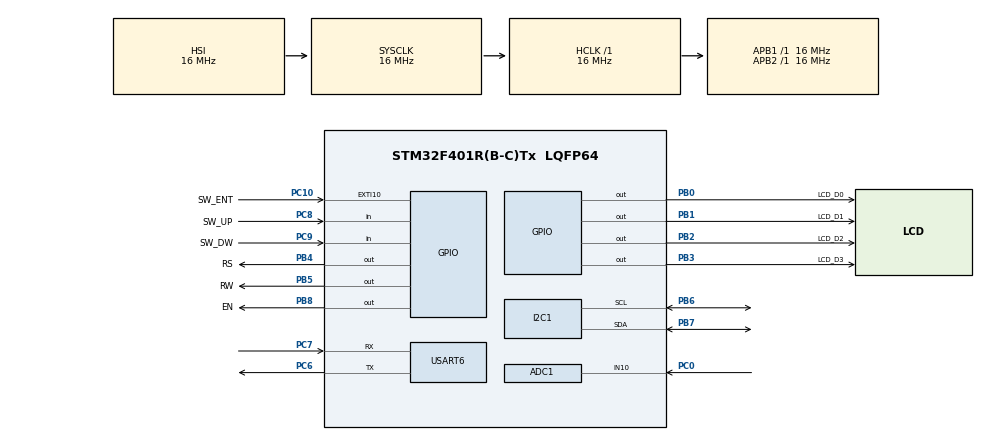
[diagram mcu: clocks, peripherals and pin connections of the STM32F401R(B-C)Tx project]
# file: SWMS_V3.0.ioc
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ADC1.Channel-0\#ChannelRegularConversion=ADC_CHANNEL_10
ADC1.NbrOfConversionFlag=1
ADC1.Rank-0\#ChannelRegularConversion=1
ADC1.SamplingTime-0\#ChannelRegularConversion=ADC_SAMPLETIME_3CYCLES
ADC1.master=1
FREERTOS.BinarySemaphores01=myBinarySem01,Dynamic,NULL
FREERTOS.Tasks01=Task1,-3,128,Task1_ReadRTC_WriteLCD_1Sec,Default,NULL,Dynamic,NULL,NULL;Task4,-3,128,Task4_SWMS_Config,Default,NULL,Dynamic,NULL,NULL;Task3,-3,128,Task3_Check_InternetStatus,Default,NULL,Dynamic,NULL,NULL;Task2,0,128,Task2_ReadLM35_WriteLCD_5Sec,Default,NULL,Dynamic,NULL,NULL
Mcu.Family=STM32F4
Mcu.Name=STM32F401R(B-C)Tx
Mcu.Package=LQFP64
NVIC.EXTI15_10_IRQn=true\:5\:0\:false\:false\:true\:true\:true\:true\:true
NVIC.PriorityGroup=NVIC_PRIORITYGROUP_4
NVIC.TIM1_UP_TIM10_IRQn=true\:15\:0\:false\:false\:true\:false\:false\:true\:true
NVIC.TimeBase=TIM1_UP_TIM10_IRQn
NVIC.TimeBaseIP=TIM10
PA13.Mode=Serial_Wire
PA13.Signal=SYS_JTMS-SWDIO
PA14.Mode=Serial_Wire
PA14.Signal=SYS_JTCK-SWCLK
PB0.GPIO_Label=LCD_D0
PB0.Signal=GPIO_Output
PB1.GPIO_Label=LCD_D1
PB1.Signal=GPIO_Output
PB2.GPIO_Label=LCD_D2
PB2.Signal=GPIO_Output
PB3.GPIO_Label=LCD_D3
PB3.Signal=GPIO_Output
PB4.GPIO_Label=RS
PB4.Signal=GPIO_Output
PB5.GPIO_Label=RW
PB5.Signal=GPIO_Output
PB6.Mode=I2C
PB6.Signal=I2C1_SCL
PB7.Mode=I2C
PB7.Signal=I2C1_SDA
PB8.GPIO_Label=EN
PB8.Signal=GPIO_Output
PC0.Signal=ADCx_IN10
PC10.GPIO_Label=SW_ENT
PC10.GPIO_ModeDefaultEXTI=GPIO_MODE_IT_FALLING
PC10.GPIO_PuPd=GPIO_PULLUP
PC10.Signal=GPXTI10
PC14-OSC32_IN.Mode=LSE-External-Oscillator
PC14-OSC32_IN.Signal=RCC_OSC32_IN
PC15-OSC32_OUT.Mode=LSE-External-Oscillator
PC15-OSC32_OUT.Signal=RCC_OSC32_OUT
PC6.Mode=Asynchronous
PC6.Signal=USART6_TX
PC7.Mode=Asynchronous
PC7.Signal=USART6_RX
PC8.GPIO_Label=SW_UP
PC8.GPIO_PuPd=GPIO_PULLUP
PC8.Signal=GPIO_Input
PC9.GPIO_Label=SW_DW
PC9.GPIO_PuPd=GPIO_PULLUP
PC9.Signal=GPIO_Input
PH0\ -\ OSC_IN.Mode=HSE-External-Oscillator
PH0\ -\ OSC_IN.Signal=RCC_OSC_IN
PH1\ -\ OSC_OUT.Mode=HSE-External-Oscillator
PH1\ -\ OSC_OUT.Signal=RCC_OSC_OUT
ProjectManager.HeapSize=0x200
ProjectManager.StackSize=0x400
ProjectManager.TargetToolchain=STM32CubeIDE
RCC.AHBFreq_Value=16000000
RCC.APB1Freq_Value=16000000
RCC.APB1TimFreq_Value=16000000
RCC.APB2Freq_Value=16000000
RCC.APB2TimFreq_Value=16000000
RCC.CortexFreq_Value=16000000
RCC.HCLKFreq_Value=16000000
RCC.HSE_VALUE=25000000
RCC.HSI_VALUE=16000000
RCC.SYSCLKFreq_VALUE=16000000
RCC.VCOOutputFreq_Value=192000000
SH.ADCx_IN10.0=ADC1_IN10,IN10
USART6.VirtualMode=VM_ASYNC
VP_FREERTOS_VS_CMSIS_V1.Mode=CMSIS_V1
VP_SYS_VS_tim10.Mode=TIM10
board=custom

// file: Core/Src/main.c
/* USER CODE BEGIN Header */
/**
  ******************************************************************************
  * @file           : main.c
  * @brief          : Main program body
  ******************************************************************************
  * @attention
  *
  * Copyright (c) 2024 STMicroelectronics.
  * All rights reserved.
  *
  * This software is licensed under terms that can be found in the LICENSE file
  * in the root directory of this software component.
  * If no LICENSE file comes with this software, it is provided AS-IS.
  *
  ******************************************************************************
  */
/* USER CODE END Header */
#include "main.h"
#include "cmsis_os.h"

/* USER CODE BEGIN Includes */
#include "lcd.h"

/* USER CODE END Includes */

ADC_HandleTypeDef hadc1;

I2C_HandleTypeDef hi2c1;

UART_HandleTypeDef huart6;

osThreadId Task1Handle;
osThreadId Task4Handle;
osThreadId Task3Handle;
osThreadId Task2Handle;
osSemaphoreId myBinarySem01Handle;
/* USER CODE BEGIN PV */
extern int _5sec_flag;
extern int _1sec_flag;
extern int enter;
unsigned char rtc_data[7]={0};
int Flag=0;
int i=0;
int count=0;
/* USER CODE END PV */

void SystemClock_Config(void);
static void MX_GPIO_Init(void);
static void MX_ADC1_Init(void);
static void MX_I2C1_Init(void);
static void MX_USART6_UART_Init(void);
void Task1_ReadRTC_WriteLCD_1Sec(void const * argument);
void Task4_SWMS_Config(void const * argument);
void Task3_Check_InternetStatus(void const * argument);
void Task2_ReadLM35_WriteLCD_5Sec(void const * argument);

/* USER CODE BEGIN 0 */
unsigned char rtc_write[]={0x00,0x13,0x11,0x05,0x06,0x12,0x24};
unsigned char rtc_read[7];
unsigned int lm35_data,b;
unsigned int lm35_flag=0;
unsigned char Fetch[100];
/* USER CODE END 0 */

int main(void)
{

  /* MCU Configuration--------------------------------------------------------*/

  /* Reset of all peripherals, Initializes the Flash interface and the Systick. */
  HAL_Init();

  /* Configure the system clock */
  SystemClock_Config();

  /* Initialize all configured peripherals */
  MX_GPIO_Init();
  MX_ADC1_Init();
  MX_I2C1_Init();
  MX_USART6_UART_Init();
  /* USER CODE BEGIN 2 */
  HAL_LCD_Init();
  wifi_init();
 //HAL_I2C_Mem_Write(&hi2c1,0x68<<1,0x00,0x01,&rtc_write,7,100);
  /* USER CODE END 2 */

  /* Create the semaphores(s) */
  /* definition and creation of myBinarySem01 */
  osSemaphoreDef(myBinarySem01);
  myBinarySem01Handle = osSemaphoreCreate(osSemaphore(myBinarySem01), 1);

  /* Create the thread(s) */
  /* definition and creation of Task1 */
  osThreadDef(Task1, Task1_ReadRTC_WriteLCD_1Sec, osPriorityIdle, 0, 128);
  Task1Handle = osThreadCreate(osThread(Task1), NULL);

  /* definition and creation of Task4 */
  osThreadDef(Task4, Task4_SWMS_Config, osPriorityIdle, 0, 128);
  Task4Handle = osThreadCreate(osThread(Task4), NULL);

  /* definition and creation of Task3 */
  osThreadDef(Task3, Task3_Check_InternetStatus, osPriorityIdle, 0, 128);
  Task3Handle = osThreadCreate(osThread(Task3), NULL);

  /* definition and creation of Task2 */
  osThreadDef(Task2, Task2_ReadLM35_WriteLCD_5Sec, osPriorityNormal, 0, 128);
  Task2Handle = osThreadCreate(osThread(Task2), NULL);

  /* Start scheduler */
  osKernelStart();
  /* We should never get here as control is now taken by the scheduler */
  /* Infinite loop */
  while (1)
  {

  }
}

void SystemClock_Config(void)
{
  RCC_OscInitTypeDef RCC_OscInitStruct = {0};
  RCC_ClkInitTypeDef RCC_ClkInitStruct = {0};

  /** Configure the main internal regulator output voltage
  */
  __HAL_RCC_PWR_CLK_ENABLE();
  __HAL_PWR_VOLTAGESCALING_CONFIG(PWR_REGULATOR_VOLTAGE_SCALE2);

  /** Initializes the RCC Oscillators according to the specified parameters
  * in the RCC_OscInitTypeDef structure.
  */
  RCC_OscInitStruct.OscillatorType = RCC_OSCILLATORTYPE_HSI;
  RCC_OscInitStruct.HSIState = RCC_HSI_ON;
  RCC_OscInitStruct.HSICalibrationValue = RCC_HSICALIBRATION_DEFAULT;
  RCC_OscInitStruct.PLL.PLLState = RCC_PLL_NONE;
  if (HAL_RCC_OscConfig(&RCC_OscInitStruct) != HAL_OK)
  {
    Error_Handler();
  }

  /** Initializes the CPU, AHB and APB buses clocks
  */
  RCC_ClkInitStruct.ClockType = RCC_CLOCKTYPE_HCLK|RCC_CLOCKTYPE_SYSCLK
                              |RCC_CLOCKTYPE_PCLK1|RCC_CLOCKTYPE_PCLK2;
  RCC_ClkInitStruct.SYSCLKSource = RCC_SYSCLKSOURCE_HSI;
  RCC_ClkInitStruct.AHBCLKDivider = RCC_SYSCLK_DIV1;
  RCC_ClkInitStruct.APB1CLKDivider = RCC_HCLK_DIV1;
  RCC_ClkInitStruct.APB2CLKDivider = RCC_HCLK_DIV1;

  if (HAL_RCC_ClockConfig(&RCC_ClkInitStruct, FLASH_LATENCY_0) != HAL_OK)
  {
    Error_Handler();
  }
}

static void MX_ADC1_Init(void)
{

  ADC_ChannelConfTypeDef sConfig = {0};

  /** Configure the global features of the ADC (Clock, Resolution, Data Alignment and number of conversion)
  */
  hadc1.Instance = ADC1;
  hadc1.Init.ClockPrescaler = ADC_CLOCK_SYNC_PCLK_DIV2;
  hadc1.Init.Resolution = ADC_RESOLUTION_12B;
  hadc1.Init.ScanConvMode = DISABLE;
  hadc1.Init.ContinuousConvMode = DISABLE;
  hadc1.Init.DiscontinuousConvMode = DISABLE;
  hadc1.Init.ExternalTrigConvEdge = ADC_EXTERNALTRIGCONVEDGE_NONE;
  hadc1.Init.ExternalTrigConv = ADC_SOFTWARE_START;
  hadc1.Init.DataAlign = ADC_DATAALIGN_RIGHT;
  hadc1.Init.NbrOfConversion = 1;
  hadc1.Init.DMAContinuousRequests = DISABLE;
  hadc1.Init.EOCSelection = ADC_EOC_SINGLE_CONV;
  if (HAL_ADC_Init(&hadc1) != HAL_OK)
  {
    Error_Handler();
  }

  /** Configure for the selected ADC regular channel its corresponding rank in the sequencer and its sample time.
  */
  sConfig.Channel = ADC_CHANNEL_10;
  sConfig.Rank = 1;
  sConfig.SamplingTime = ADC_SAMPLETIME_3CYCLES;
  if (HAL_ADC_ConfigChannel(&hadc1, &sConfig) != HAL_OK)
  {
    Error_Handler();
  }

}

static void MX_I2C1_Init(void)
{

  hi2c1.Instance = I2C1;
  hi2c1.Init.ClockSpeed = 100000;
  hi2c1.Init.DutyCycle = I2C_DUTYCYCLE_2;
  hi2c1.Init.OwnAddress1 = 0;
  hi2c1.Init.AddressingMode = I2C_ADDRESSINGMODE_7BIT;
  hi2c1.Init.DualAddressMode = I2C_DUALADDRESS_DISABLE;
  hi2c1.Init.OwnAddress2 = 0;
  hi2c1.Init.GeneralCallMode = I2C_GENERALCALL_DISABLE;
  hi2c1.Init.NoStretchMode = I2C_NOSTRETCH_DISABLE;
  if (HAL_I2C_Init(&hi2c1) != HAL_OK)
  {
    Error_Handler();
  }

}

static void MX_USART6_UART_Init(void)
{

  huart6.Instance = USART6;
  huart6.Init.BaudRate = 115200;
  huart6.Init.WordLength = UART_WORDLENGTH_8B;
  huart6.Init.StopBits = UART_STOPBITS_1;
  huart6.Init.Parity = UART_PARITY_NONE;
  huart6.Init.Mode = UART_MODE_TX_RX;
  huart6.Init.HwFlowCtl = UART_HWCONTROL_NONE;
  huart6.Init.OverSampling = UART_OVERSAMPLING_16;
  if (HAL_UART_Init(&huart6) != HAL_OK)
  {
    Error_Handler();
  }

}

static void MX_GPIO_Init(void)
{
  GPIO_InitTypeDef GPIO_InitStruct = {0};

  /* GPIO Ports Clock Enable */
  __HAL_RCC_GPIOC_CLK_ENABLE();
  __HAL_RCC_GPIOH_CLK_ENABLE();
  __HAL_RCC_GPIOB_CLK_ENABLE();
  __HAL_RCC_GPIOA_CLK_ENABLE();

  /*Configure GPIO pin Output Level */
  HAL_GPIO_WritePin(GPIOB, LCD_D0_Pin|LCD_D1_Pin|LCD_D2_Pin|LCD_D3_Pin
                          |RS_Pin|RW_Pin|EN_Pin, GPIO_PIN_RESET);

  /*Configure GPIO pins : LCD_D0_Pin LCD_D1_Pin LCD_D2_Pin LCD_D3_Pin
                           RS_Pin RW_Pin EN_Pin */
  GPIO_InitStruct.Pin = LCD_D0_Pin|LCD_D1_Pin|LCD_D2_Pin|LCD_D3_Pin
                          |RS_Pin|RW_Pin|EN_Pin;
  GPIO_InitStruct.Mode = GPIO_MODE_OUTPUT_PP;
  GPIO_InitStruct.Pull = GPIO_NOPULL;
  GPIO_InitStruct.Speed = GPIO_SPEED_FREQ_LOW;
  HAL_GPIO_Init(GPIOB, &GPIO_InitStruct);

  /*Configure GPIO pins : SW_UP_Pin SW_DW_Pin */
  GPIO_InitStruct.Pin = SW_UP_Pin|SW_DW_Pin;
  GPIO_InitStruct.Mode = GPIO_MODE_INPUT;
  GPIO_InitStruct.Pull = GPIO_PULLUP;
  HAL_GPIO_Init(GPIOC, &GPIO_InitStruct);

  /*Configure GPIO pin : SW_ENT_Pin */
  GPIO_InitStruct.Pin = SW_ENT_Pin;
  GPIO_InitStruct.Mode = GPIO_MODE_IT_FALLING;
  GPIO_InitStruct.Pull = GPIO_PULLUP;
  HAL_GPIO_Init(SW_ENT_GPIO_Port, &GPIO_InitStruct);

  /* EXTI interrupt init*/
  HAL_NVIC_SetPriority(EXTI15_10_IRQn, 5, 0);
  HAL_NVIC_EnableIRQ(EXTI15_10_IRQn);

}

/* USER CODE BEGIN 4 */
void wifi_init(void)
{
			HAL_UART_Transmit(&huart6,"AT\r\n",5,100);
	  	    HAL_Delay(100);
	  	    HAL_UART_Transmit(&huart6,"AT+RST\r\n",9,100);
	  	    HAL_Delay(100);
	  	    HAL_UART_Transmit(&huart6,"AT+CWMODE=3\r\n",14,100);
	  	    HAL_Delay(100);
	  	    HAL_UART_Transmit(&huart6,"AT+CWJAP=\"SAI\",\"12345678\"\r\n",strlen("AT+CWJAP=\"SAI\",\"12345678\"\r\n"),100);
	  	    HAL_Delay(100);
	  	    HAL_UART_Transmit(&huart6,"AT+CIFSR\r\n",11,100);
	  	    HAL_Delay(100);
	  	    HAL_UART_Transmit(&huart6,"AT+CIPMUX=0\r\n",14,100);
	  	    HAL_Delay(100);
	  	    HAL_UART_Transmit(&huart6,"AT+CWLAP\r\n",11,100);
	  	    HAL_Delay(100);
	  	    HAL_UART_Transmit(&huart6,"AT+CIPMODE=0\r\n",15,100);
}
void SWMS_Config1(void)
{

  while((HAL_GPIO_ReadPin(GPIOC,SW_ENT_Pin))!=0)
		{
			if((HAL_GPIO_ReadPin(GPIOC,SW_UP_Pin))==0)
			{
				if(rtc_data[i]%10==9)
				{
					count++;
					rtc_data[i]++;
				}
				else
				rtc_data[i]++;
				HAL_LCD_WRITE_DATA((rtc_data[i]/10)+48);
				HAL_LCD_WRITE_DATA((rtc_data[i]%10)+48);
				  while((HAL_GPIO_ReadPin(GPIOC,SW_UP_Pin))==0);
				HAL_LCD_WRITE_COMMAND(0x10);
				HAL_LCD_WRITE_COMMAND(0x10);
			}
			if((HAL_GPIO_ReadPin(GPIOC,SW_DW_Pin))==0)
			{
				if(rtc_data[i]%10==9)
				{
					count--;
					rtc_data[i]--;
				}
				else
				rtc_data[i]--;
				HAL_LCD_WRITE_DATA((rtc_data[i]/10)+48);
				HAL_LCD_WRITE_DATA((rtc_data[i]%10)+48);
				  while((HAL_GPIO_ReadPin(GPIOC,SW_DW_Pin))==0);
				HAL_LCD_WRITE_COMMAND(0x10);
				HAL_LCD_WRITE_COMMAND(0x10);
			}
		}
		HAL_Delay(500);
		HAL_Delay(500);
		Flag++;
		rtc_data[i]-=count;
		while(count)
		{
			rtc_data[i]+=7;
			count--;
		}
		i++;
}
void SW_Enter(void)
{
	switch(Flag)
		{
			case 0:HAL_LCD_WRITE_COMMAND(0x81);
						HAL_LCD_STRING("SS:MM:HH");
						HAL_LCD_WRITE_COMMAND(0xC1);
						HAL_LCD_STRING("00");
						HAL_LCD_WRITE_COMMAND(0xC1);
							break;
			case 1:HAL_LCD_WRITE_COMMAND(0xC4);
						HAL_LCD_STRING("00");
						HAL_LCD_WRITE_COMMAND(0xC4);
							break;
			case 2:HAL_LCD_WRITE_COMMAND(0xC7);
						HAL_LCD_STRING("00");
						HAL_LCD_WRITE_COMMAND(0xC7);
							break;
			case 3:HAL_LCD_WRITE_COMMAND(0x01);
						HAL_LCD_WRITE_COMMAND(0x81);
						HAL_LCD_STRING("DY:DD:MM:YY");
						HAL_LCD_WRITE_COMMAND(0xC1);
						HAL_LCD_STRING("00");
						HAL_LCD_WRITE_COMMAND(0xC1);
						  break;
			case 4:HAL_LCD_WRITE_COMMAND(0xC4);
						HAL_LCD_STRING("00");
						HAL_LCD_WRITE_COMMAND(0xC4);
						  break;
			case 5:HAL_LCD_WRITE_COMMAND(0xC7);
						HAL_LCD_STRING("00");
						HAL_LCD_WRITE_COMMAND(0xC7);
							break;
			case 6:HAL_LCD_WRITE_COMMAND(0xCA);
						HAL_LCD_STRING("00");
						HAL_LCD_WRITE_COMMAND(0xCA);
							break;
			case 7:HAL_LCD_WRITE_COMMAND(0x01);
						HAL_LCD_WRITE_COMMAND(0x82);
						HAL_LCD_WRITE_COMMAND(0x01);
						HAL_I2C_Mem_Write(&hi2c1,0x68<<1,0x00,0x01,rtc_data,7,100);
						HAL_LCD_STRING("Data Written");
						HAL_LCD_WRITE_COMMAND(0x01);
						break;
		}
}

/* USER CODE END 4 */

void Task1_ReadRTC_WriteLCD_1Sec(void const * argument)
{
  /* USER CODE BEGIN 5 */
  /* Infinite loop */
  for(;;)
  {
	  if(_1sec_flag==1)
	  {
	  	  osSemaphoreWait(myBinarySem01Handle,osWaitForever);
	  	  	  	HAL_LCD_WRITE_COMMAND(0x80);
	  	  	  	HAL_I2C_Mem_Read(&hi2c1,0x68<<1,0x00,0x01,rtc_read,7,100);
	  	 	   	   	   // HH:MM:SS
	  	  	  	HAL_LCD_WRITE_COMMAND(0x81);
	  	  	  	      // hours
	  	  	  	HAL_LCD_WRITE_DATA((rtc_read[2] >> 4) + '0');
	  	  	  	HAL_LCD_WRITE_DATA((rtc_read[2] & 0x0F) + '0');
	  	  	  	HAL_LCD_WRITE_DATA(':');
	  	  	  	       // minutes
	  	  	  	HAL_LCD_WRITE_DATA((rtc_read[1] >> 4) + '0');
	  	  	  	HAL_LCD_WRITE_DATA((rtc_read[1] & 0x0F) + '0');
	  	  	  	HAL_LCD_WRITE_DATA(':');
	  	  	  	       // seconds
	  	  	  	HAL_LCD_WRITE_DATA((rtc_read[0] >> 4) + '0');
	  	  	  	HAL_LCD_WRITE_DATA((rtc_read[0] & 0x0F) + '0');
	  	  	  	       // Date: DD/MM/YY
	  	  	  	HAL_LCD_WRITE_COMMAND(0xC1);
	  	  	  	      //date
	  	  	  	HAL_LCD_WRITE_DATA((rtc_read[4] >> 4) + '0');
	  	  	  	HAL_LCD_WRITE_DATA((rtc_read[4] & 0x0F) + '0');
	  	  	  	HAL_LCD_WRITE_DATA('/');
	  	  	  	       // month
	  	  	  	HAL_LCD_WRITE_DATA((rtc_read[5] >> 4) + '0');
	  	  	  	HAL_LCD_WRITE_DATA((rtc_read[5] & 0x0F) + '0');
	  	  	  	HAL_LCD_WRITE_DATA('/');
	  	  	  	      //year
	  	  	  	HAL_LCD_WRITE_DATA((rtc_read[6] >> 4) + '0');
	  	  	  	HAL_LCD_WRITE_DATA((rtc_read[6] & 0x0F) + '0');
                _1sec_flag=0;
	   	osSemaphoreRelease(myBinarySem01Handle);
                 osDelay(1);
	  }
  }
  /* USER CODE END 5 */
}

void Task4_SWMS_Config(void const * argument)
{
  /* USER CODE BEGIN Task4_SWMS_Config */
  /* Infinite loop */
  for(;;)
  {
	  if(enter==1)
	  {
		  osSemaphoreWait(myBinarySem01Handle,osWaitForever);
		  HAL_LCD_WRITE_COMMAND(0x01);
		  	while(1)
		  	{
		  		SW_Enter();
		  		if(Flag==7)
		  		{
		  			Flag=0;
		  			break ;
		  		}
		  		SWMS_Config1();
		  	}
		 osSemaphoreRelease(myBinarySem01Handle);
		 enter=0;
		 osDelay(1);
	  }
  }
  /* USER CODE END Task4_SWMS_Config */
}

void Task3_Check_InternetStatus(void const * argument)
{
  for(;;)
  {
    osDelay(1);
  }
}

void Task2_ReadLM35_WriteLCD_5Sec(void const * argument)
{
  /* USER CODE BEGIN Task2_ReadLM35_WriteLCD_5Sec */
  /* Infinite loop */
  for(;;)
  {
	  if(_5sec_flag==1)
	  {
	  osSemaphoreWait(myBinarySem01Handle,osWaitForever);
		HAL_ADC_Start(&hadc1);
	  	HAL_ADC_PollForConversion(&hadc1,20);
	  	lm35_data=HAL_ADC_GetValue(&hadc1);
	  	lm35_data=((lm35_data*3000)/40960);
	  	HAL_LCD_WRITE_COMMAND(0x8C);
	  	b=lm35_data/10;
	  	HAL_LCD_WRITE_DATA(b+48);
	  	b=lm35_data%10;
	  	HAL_LCD_WRITE_DATA(b+48);
	  	HAL_LCD_WRITE_DATA(0xDF);
	  	HAL_LCD_WRITE_DATA('C');
		HAL_UART_Transmit(&huart6,"AT+CIPSTATUS\r\n",15,100);
	    HAL_Delay(100);
	    HAL_UART_Transmit(&huart6,"AT+CIPSTART=\"TCP\",\"142.93.218.33\",80\r\n",39,100);
	    HAL_Delay(100);
	    HAL_UART_Transmit(&huart6,"AT+CIPSEND=40\r\n",16,100);
	    sprintf(Fetch,"GET /page.php?temp=%d&hum=30&dev=36\r\n",lm35_data);
	    HAL_Delay(100);
	    HAL_UART_Transmit(&huart6,Fetch,sizeof(Fetch),100);
	    HAL_Delay(100);
	    HAL_UART_Transmit(&huart6,"AT+CIPCLOSE\r\n",15,100);
		  _5sec_flag=0;
	  	osSemaphoreRelease(myBinarySem01Handle);
	  }
	  	osDelay(1);
  }
  /* USER CODE END Task2_ReadLM35_WriteLCD_5Sec */
}

void HAL_TIM_PeriodElapsedCallback(TIM_HandleTypeDef *htim)
{
  if (htim->Instance == TIM10) {
    HAL_IncTick();
  }
}

void Error_Handler(void)
{
  __disable_irq();
  while (1)
  {
  }
}
